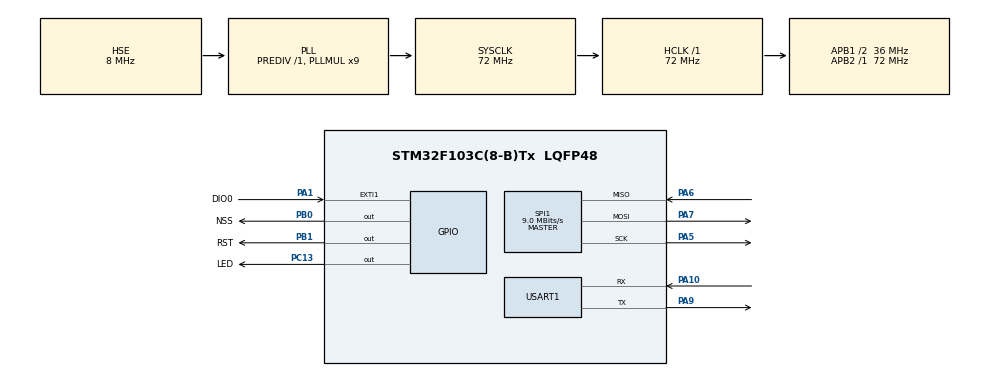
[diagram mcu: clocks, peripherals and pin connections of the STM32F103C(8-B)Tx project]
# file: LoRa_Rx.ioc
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Mcu.Family=STM32F1
Mcu.Name=STM32F103C(8-B)Tx
Mcu.Package=LQFP48
NVIC.EXTI1_IRQn=true\:0\:0\:false\:false\:true\:true\:true\:true
NVIC.PriorityGroup=NVIC_PRIORITYGROUP_4
PA1.GPIO_Label=DIO0
PA1.Signal=GPXTI1
PA10.Mode=Asynchronous
PA10.Signal=USART1_RX
PA13.Mode=Serial_Wire
PA13.Signal=SYS_JTMS-SWDIO
PA14.Mode=Serial_Wire
PA14.Signal=SYS_JTCK-SWCLK
PA5.Mode=Full_Duplex_Master
PA5.Signal=SPI1_SCK
PA6.Mode=Full_Duplex_Master
PA6.Signal=SPI1_MISO
PA7.Mode=Full_Duplex_Master
PA7.Signal=SPI1_MOSI
PA9.Mode=Asynchronous
PA9.Signal=USART1_TX
PB0.GPIO_Label=NSS
PB0.PinState=GPIO_PIN_SET
PB0.Signal=GPIO_Output
PB1.GPIO_Label=RST
PB1.PinState=GPIO_PIN_SET
PB1.Signal=GPIO_Output
PC13-TAMPER-RTC.GPIO_Label=LED
PC13-TAMPER-RTC.Signal=GPIO_Output
PD0-OSC_IN.Mode=HSE-External-Oscillator
PD0-OSC_IN.Signal=RCC_OSC_IN
PD1-OSC_OUT.Mode=HSE-External-Oscillator
PD1-OSC_OUT.Signal=RCC_OSC_OUT
ProjectManager.HeapSize=0x200
ProjectManager.StackSize=0x400
ProjectManager.TargetToolchain=MDK-ARM V5.32
RCC.AHBFreq_Value=72000000
RCC.APB1CLKDivider=RCC_HCLK_DIV2
RCC.APB1Freq_Value=36000000
RCC.APB1TimFreq_Value=72000000
RCC.APB2Freq_Value=72000000
RCC.APB2TimFreq_Value=72000000
RCC.HCLKFreq_Value=72000000
RCC.PLLMUL=RCC_PLL_MUL9
RCC.PLLSourceVirtual=RCC_PLLSOURCE_HSE
RCC.SYSCLKFreq_VALUE=72000000
RCC.SYSCLKSource=RCC_SYSCLKSOURCE_PLLCLK
RCC.USBFreq_Value=72000000
SPI1.BaudRatePrescaler=SPI_BAUDRATEPRESCALER_8
SPI1.CalculateBaudRate=9.0 MBits/s
SPI1.Direction=SPI_DIRECTION_2LINES
SPI1.Mode=SPI_MODE_MASTER
SPI1.VirtualType=VM_MASTER
USART1.VirtualMode=VM_ASYNC
board=custom

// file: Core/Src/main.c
/* USER CODE BEGIN Header */
/**
  ******************************************************************************
  * @file           : main.c
  * @brief          : Main program body
  ******************************************************************************
  * @attention
  *
  * Copyright (c) 2023 STMicroelectronics.
  * All rights reserved.
  *
  * This software is licensed under terms that can be found in the LICENSE file
  * in the root directory of this software component.
  * If no LICENSE file comes with this software, it is provided AS-IS.
  *
  ******************************************************************************
  */
/* USER CODE END Header */
#include "main.h"
#include "spi.h"
#include "usart.h"
#include "gpio.h"

/* USER CODE BEGIN Includes */
#include "stdio.h"
#include "string.h"
#include "LoRa.h"
/* USER CODE END Includes */

/* USER CODE BEGIN PV */
	LoRa myLoRa;
	uint8_t LoRa_stat = 0;
	uint8_t RxBuffer[128];
	int RSSI_Lora = 0;
/* USER CODE END PV */

void SystemClock_Config(void);

int main(void)
{

  /* MCU Configuration--------------------------------------------------------*/

  /* Reset of all peripherals, Initializes the Flash interface and the Systick. */
  HAL_Init();

  /* Configure the system clock */
  SystemClock_Config();

  /* Initialize all configured peripherals */
  MX_GPIO_Init();
  MX_USART1_UART_Init();
  MX_SPI1_Init();
  /* USER CODE BEGIN 2 */
	myLoRa = newLoRa();
	myLoRa.CS_port         = NSS_GPIO_Port;
	myLoRa.CS_pin          = NSS_Pin;
	myLoRa.reset_port      = RST_GPIO_Port;
	myLoRa.reset_pin       = RST_Pin;
	myLoRa.DIO0_port       = DIO0_GPIO_Port;
	myLoRa.DIO0_pin        = DIO0_Pin;
	myLoRa.hSPIx           = &hspi1;

	myLoRa.frequency             = 440;             // default = 433 MHz
	myLoRa.spredingFactor        = SF_7;            // default = SF_7
	myLoRa.bandWidth             = BW_31_25KHz;       // default = BW_125KHz
	myLoRa.crcRate               = CR_4_5;          // default = CR_4_5
	myLoRa.power                 = POWER_20db;      // default = 20db
	myLoRa.overCurrentProtection = 130;             // default = 100 mA
	myLoRa.preamble              = 9;              // default = 8;

	if(LoRa_init(&myLoRa) == LORA_OK){
		LoRa_stat = 1;
	}

///////////
	char   send_data[200];
uint16_t LoRa_status = LoRa_init(&myLoRa);
memset(send_data,NULL,200);
	send_data[0] = 'S';
	send_data[1] = 'u';
	send_data[2] = 'c';
	send_data[3] = 'c';
	send_data[4] = 'e';
	send_data[5] = 's';
	send_data[6] = 's';
	send_data[7] = '\n';
if (LoRa_status==LORA_OK){
//  LoRa_transmit(&myLoRa, (uint8_t*)send_data, 120, 100);
  HAL_UART_Transmit(&huart1, (uint8_t*)send_data, 200, 200);
}
else{
  snprintf(send_data,sizeof(send_data),"\n\r LoRa failed :( \n\r Error code: %d \n\r", LoRa_status);
  HAL_UART_Transmit(&huart1, (uint8_t*)send_data, 200, 200);
}
LoRa_startReceiving(&myLoRa);

  /* USER CODE END 2 */

  /* Infinite loop */
  while (1)
  {

    /* USER CODE BEGIN 3 */
//		RSSI_Lora =  LoRa_getRSSI(&myLoRa);
//
//
//		HAL_Delay(500);
//		if(RSSI_Lora !=0){
//			HAL_UART_Transmit(&huart1,RxBuffer,12,500);
//			HAL_UART_Transmit(&huart1, (uint8_t*)RSSI_Lora, 200, 200);
//			HAL_Delay(100);
//		}
//		HAL_UART_Transmit(&huart1,(uint8_t*)RSSI_Lora,12,500);
//		HAL_Delay(100);
  }
  /* USER CODE END 3 */
}

void SystemClock_Config(void)
{
  RCC_OscInitTypeDef RCC_OscInitStruct = {0};
  RCC_ClkInitTypeDef RCC_ClkInitStruct = {0};

  /** Initializes the RCC Oscillators according to the specified parameters
  * in the RCC_OscInitTypeDef structure.
  */
  RCC_OscInitStruct.OscillatorType = RCC_OSCILLATORTYPE_HSE;
  RCC_OscInitStruct.HSEState = RCC_HSE_ON;
  RCC_OscInitStruct.HSEPredivValue = RCC_HSE_PREDIV_DIV1;
  RCC_OscInitStruct.HSIState = RCC_HSI_ON;
  RCC_OscInitStruct.PLL.PLLState = RCC_PLL_ON;
  RCC_OscInitStruct.PLL.PLLSource = RCC_PLLSOURCE_HSE;
  RCC_OscInitStruct.PLL.PLLMUL = RCC_PLL_MUL9;
  if (HAL_RCC_OscConfig(&RCC_OscInitStruct) != HAL_OK)
  {
    Error_Handler();
  }

  /** Initializes the CPU, AHB and APB buses clocks
  */
  RCC_ClkInitStruct.ClockType = RCC_CLOCKTYPE_HCLK|RCC_CLOCKTYPE_SYSCLK
                              |RCC_CLOCKTYPE_PCLK1|RCC_CLOCKTYPE_PCLK2;
  RCC_ClkInitStruct.SYSCLKSource = RCC_SYSCLKSOURCE_PLLCLK;
  RCC_ClkInitStruct.AHBCLKDivider = RCC_SYSCLK_DIV1;
  RCC_ClkInitStruct.APB1CLKDivider = RCC_HCLK_DIV2;
  RCC_ClkInitStruct.APB2CLKDivider = RCC_HCLK_DIV1;

  if (HAL_RCC_ClockConfig(&RCC_ClkInitStruct, FLASH_LATENCY_2) != HAL_OK)
  {
    Error_Handler();
  }
}

/* USER CODE BEGIN 4 */
//receive
// thay doi RxBuffer de nhan du lieu,
// ngat tai chan DIO0 de nhan du lieu
void HAL_GPIO_EXTI_Callback(uint16_t GPIO_Pin)
{
  if(GPIO_Pin == DIO0_Pin){

		LoRa_receive(&myLoRa,RxBuffer,128);
		RSSI_Lora = LoRa_getRSSI(&myLoRa);
		HAL_UART_Transmit(&huart1,RxBuffer,12,500);
	}
}
/* USER CODE END 4 */

void Error_Handler(void)
{
  __disable_irq();
  while (1)
  {
  }
}
